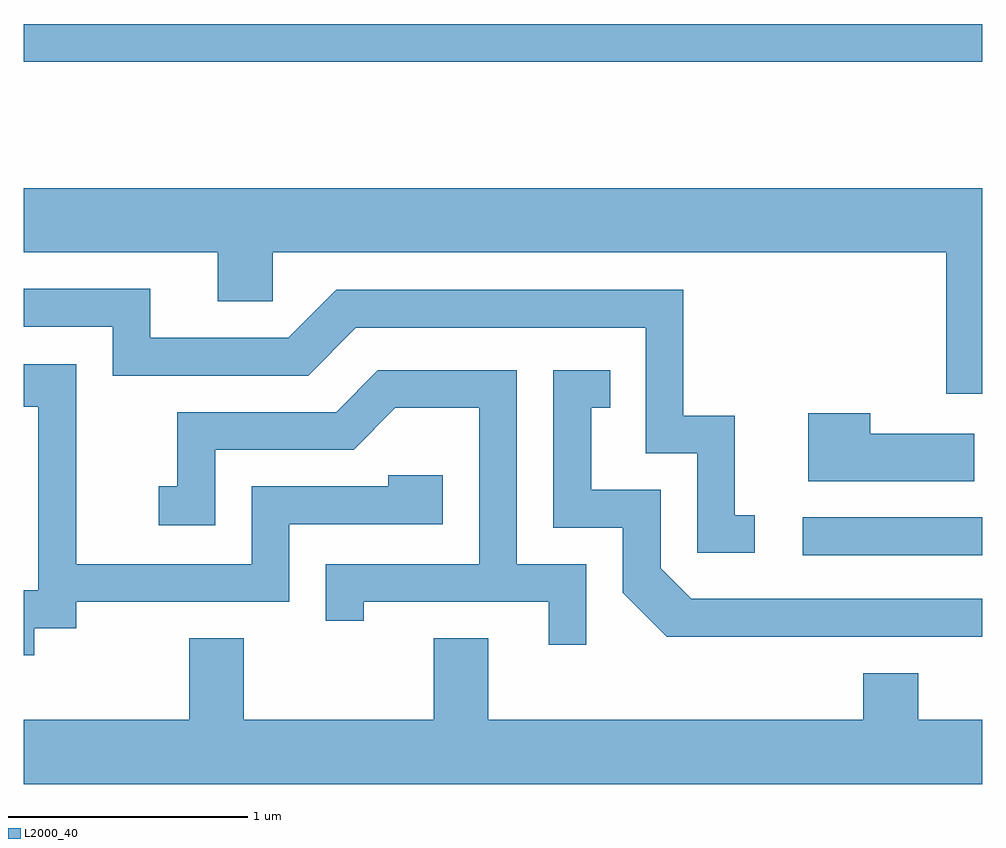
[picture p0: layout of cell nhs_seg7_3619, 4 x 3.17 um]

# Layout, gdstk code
import gdstk
lib = gdstk.Library(unit=1e-6, precision=1e-09)
def R(c, l, rs):  # rectangles x0, y0, x1, y1
    for r in rs: c.add(gdstk.rectangle(r[:2], r[2:], *l))
def P(c, l, *ps):  # polygons
    for p in ps: c.add(gdstk.Polygon(p, *l))
L2000_40 = (2000, 40)

nhs_seg7_3619 = lib.new_cell('nhs_seg7_3619')
R(nhs_seg7_3619, L2000_40, [(298.863,1755.231,299.611,1755.389), (295.611,1757.291,299.611,1757.449)])
P(nhs_seg7_3619, L2000_40, [(295.611,1756.496),(296.421,1756.496),(296.421,1756.291),(296.649,1756.291),(296.649,1756.496),(299.461,1756.496),(299.461,1755.906),(299.611,1755.906),(299.611,1756.764),(295.611,1756.764)],
  [(298.663,1755.399),(298.579,1755.399),(298.579,1755.814),(298.364,1755.814),(298.364,1756.339),(296.914,1756.339),(296.714,1756.139),(296.139,1756.139),(296.139,1756.344),(295.611,1756.344),(295.611,1756.186),(295.981,1756.186),(295.981,1755.981),(296.797,1755.981),(296.997,1756.181),(298.206,1756.181),(298.206,1755.656),(298.421,1755.656),(298.421,1755.241),(298.663,1755.241)],
  [(295.654,1754.926),(295.829,1754.926),(295.829,1755.036),(296.719,1755.036),(296.719,1755.361),(297.359,1755.361),(297.359,1755.564),(297.131,1755.564),(297.131,1755.519),(296.561,1755.519),(296.561,1755.194),(295.829,1755.194),(295.829,1756.029),(295.611,1756.029),(295.611,1755.851),(295.671,1755.851),(295.671,1755.084),(295.611,1755.084),(295.611,1754.813),(295.654,1754.813)],
  [(297.959,1755.194),(297.669,1755.194),(297.669,1756.004),(297.089,1756.004),(296.914,1755.829),(296.251,1755.829),(296.251,1755.519),(296.173,1755.519),(296.173,1755.356),(296.409,1755.356),(296.409,1755.671),(296.987,1755.671),(297.162,1755.846),(297.511,1755.846),(297.511,1755.194),(296.871,1755.194),(296.871,1754.958),(297.029,1754.958),(297.029,1755.036),(297.801,1755.036),(297.801,1754.858),(297.959,1754.858)],
  [(299.611,1755.049),(298.397,1755.049),(298.269,1755.177),(298.269,1755.504),(297.979,1755.504),(297.979,1755.846),(298.058,1755.846),(298.058,1756.004),(297.821,1756.004),(297.821,1755.346),(298.111,1755.346),(298.111,1755.074),(298.294,1754.891),(299.611,1754.891)],
  [(299.579,1755.739),(299.144,1755.739),(299.144,1755.824),(298.886,1755.824),(298.886,1755.541),(299.579,1755.541)],
  [(299.611,1754.544),(299.344,1754.544),(299.344,1754.739),(299.116,1754.739),(299.116,1754.544),(297.549,1754.544),(297.549,1754.884),(297.321,1754.884),(297.321,1754.544),(296.529,1754.544),(296.529,1754.884),(296.301,1754.884),(296.301,1754.544),(295.611,1754.544),(295.611,1754.276),(299.611,1754.276)])

lib.write_gds('nhs_seg7_3619.gds')
